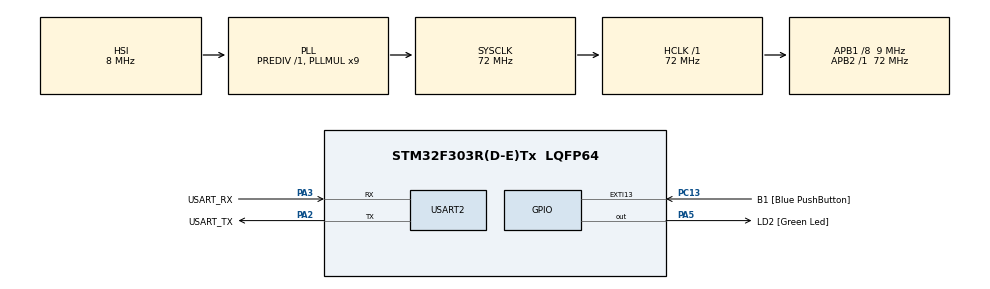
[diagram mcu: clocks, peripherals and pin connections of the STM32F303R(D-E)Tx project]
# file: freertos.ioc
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FREERTOS.HEAP_NUMBER=4
FREERTOS.Queues01=messageQueue,128,Message,0,Dynamic,NULL,NULL
FREERTOS.Tasks01=sender,24,128,StartSender,Default,NULL,Dynamic,NULL,NULL;sender2,8,128,StartSender2,Default,NULL,Dynamic,NULL,NULL;longAssTask,8,128,StartLongAssTask,Default,NULL,Dynamic,NULL,NULL
FREERTOS.configTOTAL_HEAP_SIZE=8192
Mcu.Family=STM32F3
Mcu.Name=STM32F303R(D-E)Tx
Mcu.Package=LQFP64
NVIC.PriorityGroup=NVIC_PRIORITYGROUP_4
NVIC.TIM6_DAC_IRQn=true\:15\:0\:false\:false\:true\:false\:false\:true\:true
NVIC.TimeBase=TIM6_DAC_IRQn
NVIC.TimeBaseIP=TIM6
PA13.GPIO_Label=TMS
PA13.Mode=Serial_Wire
PA13.Signal=SYS_JTMS-SWDIO
PA14.GPIO_Label=TCK
PA14.Mode=Serial_Wire
PA14.Signal=SYS_JTCK-SWCLK
PA2.GPIO_Label=USART_TX
PA2.GPIO_Mode=GPIO_MODE_AF_PP
PA2.GPIO_PuPd=GPIO_NOPULL
PA2.GPIO_Speed=GPIO_SPEED_FREQ_LOW
PA2.Mode=Asynchronous
PA2.Signal=USART2_TX
PA3.GPIO_Label=USART_RX
PA3.GPIO_Mode=GPIO_MODE_AF_PP
PA3.GPIO_PuPd=GPIO_NOPULL
PA3.GPIO_Speed=GPIO_SPEED_FREQ_LOW
PA3.Mode=Asynchronous
PA3.Signal=USART2_RX
PA5.GPIO_Label=LD2 [Green Led]
PA5.GPIO_Mode=GPIO_MODE_OUTPUT_PP
PA5.GPIO_PuPd=GPIO_NOPULL
PA5.GPIO_Speed=GPIO_SPEED_FREQ_LOW
PA5.Signal=GPIO_Output
PB3.GPIO_Label=SWO
PB3.Signal=SYS_JTDO-TRACESWO
PC13.GPIO_Label=B1 [Blue PushButton]
PC13.GPIO_ModeDefaultEXTI=GPIO_MODE_IT_FALLING
PC13.Signal=GPXTI13
PC14-OSC32_IN.Mode=LSE-External-Oscillator
PC14-OSC32_IN.Signal=RCC_OSC32_IN
PC15-OSC32_OUT.Mode=LSE-External-Oscillator
PC15-OSC32_OUT.Signal=RCC_OSC32_OUT
PF0-OSC_IN.Mode=HSE-External-Clock-Source
PF0-OSC_IN.Signal=RCC_OSC_IN
PF1-OSC_OUT.Signal=RCC_OSC_OUT
ProjectManager.HeapSize=0x200
ProjectManager.StackSize=0x400
ProjectManager.TargetToolchain=CMake
RCC.AHBFreq_Value=72000000
RCC.APB1CLKDivider=RCC_HCLK_DIV8
RCC.APB1Freq_Value=9000000
RCC.APB1TimFreq_Value=18000000
RCC.APB2Freq_Value=72000000
RCC.APB2TimFreq_Value=72000000
RCC.CortexFreq_Value=72000000
RCC.HCLKFreq_Value=72000000
RCC.HSE_VALUE=8000000
RCC.HSI_VALUE=8000000
RCC.PLLM=8
RCC.PLLMUL=RCC_PLL_MUL9
RCC.PLLN=336
RCC.PLLP=RCC_PLLP_DIV4
RCC.PLLQ=7
RCC.RCC_PLLsource_Clock_Source_FROM_HSE=RCC_HSE_PREDIV_DIV2
RCC.SYSCLKFreq_VALUE=72000000
RCC.SYSCLKSourceVirtual=RCC_SYSCLKSOURCE_PLLCLK
RCC.USBFreq_Value=72000000
TIM2.Prescaler=17999
USART2.VirtualMode-Asynchronous=VM_ASYNC
VP_FREERTOS_VS_CMSIS_V2.Mode=CMSIS_V2
VP_SYS_VS_tim6.Mode=TIM6
VP_TIM2_VS_ClockSourceINT.Mode=Internal
board=NUCLEO-F303RE

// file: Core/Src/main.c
/* USER CODE BEGIN Header */
/**
  ******************************************************************************
  * @file           : main.c
  * @brief          : Main program body
  ******************************************************************************
  * @attention
  *
  * Copyright (c) 2026 STMicroelectronics.
  * All rights reserved.
  *
  * This software is licensed under terms that can be found in the LICENSE file
  * in the root directory of this software component.
  * If no LICENSE file comes with this software, it is provided AS-IS.
  *
  ******************************************************************************
  */
/* USER CODE END Header */
#include "main.h"

/* USER CODE BEGIN Includes */
#include <stdio.h>
#include <string.h>
#include "FreeRTOS.h"
#include "portmacro.h"
#include "stm32f3xx_hal_tim.h"
#include "task.h"
#include "queue.h"
#include "semphr.h"
/* USER CODE END Includes */

/* USER CODE BEGIN PTD */
typedef struct Message
{
  uint32_t timer;
  uint8_t task;
} Message;

typedef struct TaskParams
{
  uint8_t id;
  uint32_t period;
} TaskParams;
/* USER CODE END PTD */

/* USER CODE BEGIN PD */
#define N_TASKS 3

#define MS2TICK(t) t*1 // 1khz tick rate
/* USER CODE END PD */

TIM_HandleTypeDef htim2;

UART_HandleTypeDef huart2;

/* USER CODE BEGIN PV */
TaskHandle_t senderHandle;
TaskHandle_t sender2Handle;
TaskHandle_t longAssTaskHandle;

TaskHandle_t tasks[N_TASKS];

QueueHandle_t messageQueueHandle;
SemaphoreHandle_t uartMutex;

uint32_t periods[] = { 200, 500, 5000 };
/* USER CODE END PV */

void SystemClock_Config(void);
static void MX_GPIO_Init(void);
static void MX_USART2_UART_Init(void);
static void MX_TIM2_Init(void);
void StartSender(void *argument);
void StartSender2(void *argument);
void StartLongAssTask(void *argument);

/* USER CODE BEGIN PFP */
void StartTask(void* params);
void UARTSend(const char* str);
/* USER CODE END PFP */

int main(void)
{

  /* MCU Configuration--------------------------------------------------------*/

  /* Reset of all peripherals, Initializes the Flash interface and the Systick. */
  HAL_Init();

  /* Configure the system clock */
  SystemClock_Config();

  /* Initialize all configured peripherals */
  MX_GPIO_Init();
  MX_USART2_UART_Init();
  MX_TIM2_Init();
  /* USER CODE BEGIN 2 */
  HAL_TIM_Base_Start(&htim2);
  /* USER CODE END 2 */

  /* Init scheduler */
  //osKernelInitialize();

  /* USER CODE BEGIN RTOS_SEMAPHORES */
  uartMutex = xSemaphoreCreateMutex();
  /* USER CODE END RTOS_SEMAPHORES */

  /* Create the queue(s) */
  /* creation of messageQueue */
  messageQueueHandle = xQueueCreate(128, sizeof(Message));

  // #######
  // comment out senderHandle or sender2Handle (sender is 5s buffered, sender2 is immediate)
  // #######

  /* Create the thread(s) */
  /* creation of sender */
  xTaskCreate(StartSender, "sender", 128, NULL, 10, &senderHandle);

  //xTaskCreate(StartSender2, "sender2", 128, NULL, 10, &sender2Handle);

  /* creation of longAssTask */
  xTaskCreate(StartLongAssTask, "longass", 128, NULL, 10, &longAssTaskHandle);
  /* USER CODE BEGIN RTOS_THREADS */
  /* add threads, ... */
  for (int i = 0; i < N_TASKS; i++)
  {
    char name[10];
    sprintf(name, "task%d", i);

    TaskParams* params = pvPortMalloc(sizeof(TaskParams));

    params->id = i;
    params->period = periods[i];

    xTaskCreate(StartTask, name, 128, params, 10, &tasks[i]);
  }
  /* USER CODE END RTOS_THREADS */

  /* Start scheduler */
  vTaskStartScheduler();

  /* We should never get here as control is now taken by the scheduler */

  /* Infinite loop */
  while (1)
  {

  }
}

void SystemClock_Config(void)
{
  RCC_OscInitTypeDef RCC_OscInitStruct = {0};
  RCC_ClkInitTypeDef RCC_ClkInitStruct = {0};
  RCC_PeriphCLKInitTypeDef PeriphClkInit = {0};

  /** Initializes the RCC Oscillators according to the specified parameters
  * in the RCC_OscInitTypeDef structure.
  */
  RCC_OscInitStruct.OscillatorType = RCC_OSCILLATORTYPE_HSI;
  RCC_OscInitStruct.HSIState = RCC_HSI_ON;
  RCC_OscInitStruct.HSICalibrationValue = RCC_HSICALIBRATION_DEFAULT;
  RCC_OscInitStruct.PLL.PLLState = RCC_PLL_ON;
  RCC_OscInitStruct.PLL.PLLSource = RCC_PLLSOURCE_HSI;
  RCC_OscInitStruct.PLL.PLLMUL = RCC_PLL_MUL9;
  RCC_OscInitStruct.PLL.PREDIV = RCC_PREDIV_DIV1;
  if (HAL_RCC_OscConfig(&RCC_OscInitStruct) != HAL_OK)
  {
    Error_Handler();
  }

  /** Initializes the CPU, AHB and APB buses clocks
  */
  RCC_ClkInitStruct.ClockType = RCC_CLOCKTYPE_HCLK|RCC_CLOCKTYPE_SYSCLK
                              |RCC_CLOCKTYPE_PCLK1|RCC_CLOCKTYPE_PCLK2;
  RCC_ClkInitStruct.SYSCLKSource = RCC_SYSCLKSOURCE_PLLCLK;
  RCC_ClkInitStruct.AHBCLKDivider = RCC_SYSCLK_DIV1;
  RCC_ClkInitStruct.APB1CLKDivider = RCC_HCLK_DIV8;
  RCC_ClkInitStruct.APB2CLKDivider = RCC_HCLK_DIV1;

  if (HAL_RCC_ClockConfig(&RCC_ClkInitStruct, FLASH_LATENCY_2) != HAL_OK)
  {
    Error_Handler();
  }
  PeriphClkInit.PeriphClockSelection = RCC_PERIPHCLK_USART2|RCC_PERIPHCLK_TIM2;
  PeriphClkInit.Usart2ClockSelection = RCC_USART2CLKSOURCE_PCLK1;
  PeriphClkInit.Tim2ClockSelection = RCC_TIM2CLK_HCLK;
  if (HAL_RCCEx_PeriphCLKConfig(&PeriphClkInit) != HAL_OK)
  {
    Error_Handler();
  }
}

static void MX_TIM2_Init(void)
{

  TIM_ClockConfigTypeDef sClockSourceConfig = {0};
  TIM_MasterConfigTypeDef sMasterConfig = {0};

  htim2.Instance = TIM2;
  htim2.Init.Prescaler = 17999;
  htim2.Init.CounterMode = TIM_COUNTERMODE_UP;
  htim2.Init.Period = 4294967295;
  htim2.Init.ClockDivision = TIM_CLOCKDIVISION_DIV1;
  htim2.Init.AutoReloadPreload = TIM_AUTORELOAD_PRELOAD_DISABLE;
  if (HAL_TIM_Base_Init(&htim2) != HAL_OK)
  {
    Error_Handler();
  }
  sClockSourceConfig.ClockSource = TIM_CLOCKSOURCE_INTERNAL;
  if (HAL_TIM_ConfigClockSource(&htim2, &sClockSourceConfig) != HAL_OK)
  {
    Error_Handler();
  }
  sMasterConfig.MasterOutputTrigger = TIM_TRGO_RESET;
  sMasterConfig.MasterSlaveMode = TIM_MASTERSLAVEMODE_DISABLE;
  if (HAL_TIMEx_MasterConfigSynchronization(&htim2, &sMasterConfig) != HAL_OK)
  {
    Error_Handler();
  }
  /* USER CODE BEGIN TIM2_Init 2 */
  __HAL_TIM_SET_COUNTER(&htim2, 0); // ensure counter is zero
  /* USER CODE END TIM2_Init 2 */

}

static void MX_USART2_UART_Init(void)
{

  huart2.Instance = USART2;
  huart2.Init.BaudRate = 38400;
  huart2.Init.WordLength = UART_WORDLENGTH_8B;
  huart2.Init.StopBits = UART_STOPBITS_1;
  huart2.Init.Parity = UART_PARITY_NONE;
  huart2.Init.Mode = UART_MODE_TX_RX;
  huart2.Init.HwFlowCtl = UART_HWCONTROL_NONE;
  huart2.Init.OverSampling = UART_OVERSAMPLING_16;
  huart2.Init.OneBitSampling = UART_ONE_BIT_SAMPLE_DISABLE;
  huart2.AdvancedInit.AdvFeatureInit = UART_ADVFEATURE_NO_INIT;
  if (HAL_UART_Init(&huart2) != HAL_OK)
  {
    Error_Handler();
  }

}

static void MX_GPIO_Init(void)
{
  GPIO_InitTypeDef GPIO_InitStruct = {0};

  /* GPIO Ports Clock Enable */
  __HAL_RCC_GPIOC_CLK_ENABLE();
  __HAL_RCC_GPIOF_CLK_ENABLE();
  __HAL_RCC_GPIOA_CLK_ENABLE();
  __HAL_RCC_GPIOB_CLK_ENABLE();

  /*Configure GPIO pin Output Level */
  HAL_GPIO_WritePin(LD2_GPIO_Port, LD2_Pin, GPIO_PIN_RESET);

  /*Configure GPIO pin : B1_Pin */
  GPIO_InitStruct.Pin = B1_Pin;
  GPIO_InitStruct.Mode = GPIO_MODE_IT_FALLING;
  GPIO_InitStruct.Pull = GPIO_NOPULL;
  HAL_GPIO_Init(B1_GPIO_Port, &GPIO_InitStruct);

  /*Configure GPIO pin : LD2_Pin */
  GPIO_InitStruct.Pin = LD2_Pin;
  GPIO_InitStruct.Mode = GPIO_MODE_OUTPUT_PP;
  GPIO_InitStruct.Pull = GPIO_NOPULL;
  GPIO_InitStruct.Speed = GPIO_SPEED_FREQ_LOW;
  HAL_GPIO_Init(LD2_GPIO_Port, &GPIO_InitStruct);

}

/* USER CODE BEGIN 4 */
void UARTSend(const char* str)
{
  if (xSemaphoreTake(uartMutex, portMAX_DELAY))
  {
    HAL_UART_Transmit(&huart2, (const uint8_t*)str, strlen(str), HAL_MAX_DELAY);
    xSemaphoreGive(uartMutex);
  }
}

void StartTask(void *params)
{
  TaskParams* p = (TaskParams*)params;

  /* Infinite loop */
  for(;;)
  {
    Message msg;
    msg.task = p->id;
    msg.timer = __HAL_TIM_GET_COUNTER(&htim2);
    BaseType_t s = xQueueSend(messageQueueHandle, &msg, 0);
    if (s != pdPASS)
    {
      // idk something
    }

    vTaskDelay(MS2TICK(p->period));
  }
}
/* USER CODE END 4 */

void StartSender(void *argument)
{
  /* USER CODE BEGIN 5 */
  /* Infinite loop */
  for(;;)
  {
    int msg_counter = 0;
    while (uxQueueMessagesWaiting(messageQueueHandle) > 0)
    {
      Message msg;
      BaseType_t s = xQueueReceive(messageQueueHandle, &msg, 0);
      if (s != pdPASS)
        continue;

      char str[60];
      sprintf(str, "[%d] Task: %lums, timer: %lums.\n", msg_counter, periods[msg.task], msg.timer);
      UARTSend(str);

      msg_counter++;
    }

    vTaskDelay(MS2TICK(5000));
  }
  /* USER CODE END 5 */
}

void StartSender2(void *argument)
{
  /* USER CODE BEGIN StartSender2 */
  /* Infinite loop */
  for(;;)
  {
    Message msg;
    BaseType_t s = xQueueReceive(messageQueueHandle, &msg, portMAX_DELAY);
    if (s != pdPASS)
      continue;

    char str[60];
    sprintf(str, "Task: %lums, timer: %lums.\n", periods[msg.task], msg.timer);
    UARTSend(str);
  }
  /* USER CODE END StartSender2 */
}

void StartLongAssTask(void *argument)
{
  /* USER CODE BEGIN StartLongAssTask */
  const char* msgStart = "Long ass task start.\n";
  const char* msgEnd = "Long ass task end.\n";

  /* Infinite loop */
  for(;;)
  {
    UARTSend(msgStart);

    // wait using timer 2
    uint32_t start = __HAL_TIM_GET_COUNTER(&htim2);
    while ((__HAL_TIM_GET_COUNTER(&htim2) - start) < 3000);

    UARTSend(msgEnd);
  }
  /* USER CODE END StartLongAssTask */
}

void HAL_TIM_PeriodElapsedCallback(TIM_HandleTypeDef *htim)
{
  if (htim->Instance == TIM6)
  {
    HAL_IncTick();
  }
}

void Error_Handler(void)
{
  __disable_irq();
  while (1)
  {
  }
}
